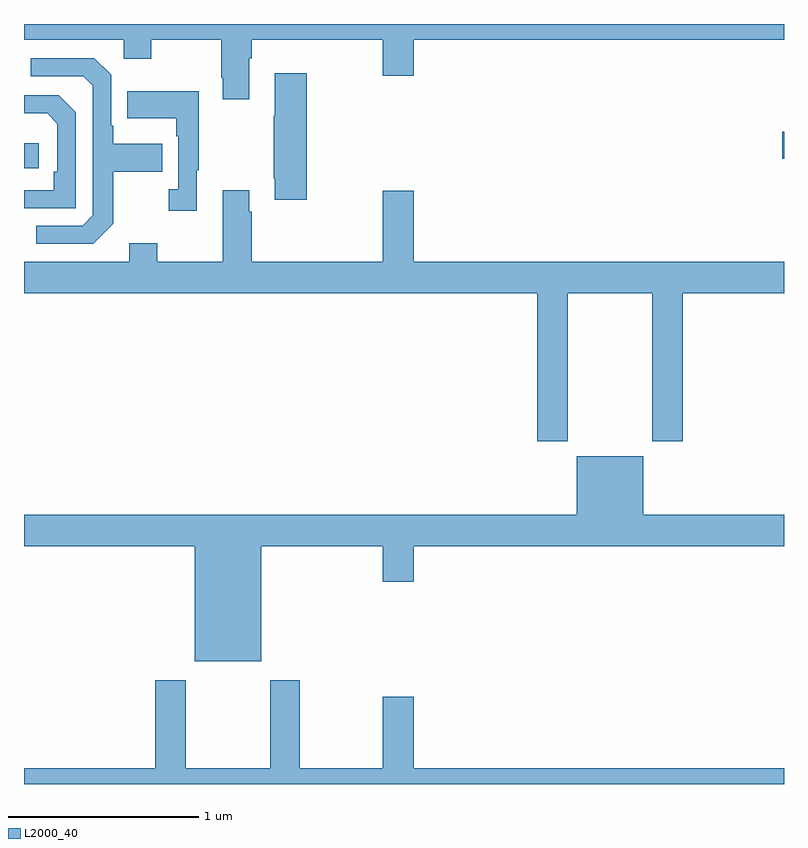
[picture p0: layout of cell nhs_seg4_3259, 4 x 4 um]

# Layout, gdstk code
import gdstk
lib = gdstk.Library(unit=1e-6, precision=1e-09)
def R(c, l, rs):  # rectangles x0, y0, x1, y1
    for r in rs: c.add(gdstk.rectangle(r[:2], r[2:], *l))
def P(c, l, *ps):  # polygons
    for p in ps: c.add(gdstk.Polygon(p, *l))
L2000_40 = (2000, 40)

nhs_seg4_3259 = lib.new_cell('nhs_seg4_3259')
R(nhs_seg4_3259, L2000_40, [(283,800.142,283.078,800.272), (286.992,800.192,287,800.334)])
P(nhs_seg4_3259, L2000_40, [(283,800.816),(283.524,800.816),(283.524,800.717),(283.671,800.717),(283.671,800.816),(284.038,800.816),(284.038,800.617),(284.045,800.617),(284.045,800.505),(284.185,800.505),(284.185,800.72),(284.198,800.72),(284.198,800.816),(284.888,800.816),(284.888,800.628),(285.052,800.628),(285.052,800.816),(287,800.816),(287,800.9),(283,800.9)],
  [(283.471,799.849),(283.471,800.122),(283.727,800.122),(283.727,800.269),(283.471,800.269),(283.471,800.365),(283.458,800.365),(283.458,800.634),(283.371,800.721),(283.035,800.721),(283.035,800.625),(283.311,800.625),(283.362,800.574),(283.362,799.893),(283.308,799.839),(283.065,799.839),(283.065,799.743),(283.365,799.743)],
  [(284.489,800.641),(284.321,800.641),(284.321,800.417),(284.314,800.417),(284.314,800.086),(284.321,800.086),(284.321,799.974),(284.489,799.974)],
  [(283.909,800.129),(283.921,800.129),(283.921,800.545),(283.543,800.545),(283.543,800.405),(283.8,800.405),(283.8,800.309),(283.812,800.309),(283.812,800.03),(283.761,800.03),(283.761,799.917),(283.909,799.917)],
  [(283.272,800.436),(283.182,800.526),(283,800.526),(283,800.429),(283.123,800.429),(283.176,800.376),(283.176,800.122),(283.156,800.122),(283.156,800.025),(283,800.025),(283,799.929),(283.272,799.929)],
  [(285.861,799.484),(286.306,799.484),(286.306,798.705),(286.466,798.705),(286.466,799.484),(287,799.484),(287,799.648),(285.052,799.648),(285.052,800.023),(284.888,800.023),(284.888,799.648),(284.198,799.648),(284.198,799.913),(284.185,799.913),(284.185,800.026),(284.045,800.026),(284.045,799.648),(283.701,799.648),(283.701,799.747),(283.553,799.747),(283.553,799.648),(283,799.648),(283,799.484),(285.701,799.484),(285.701,798.705),(285.861,798.705)],
  [(284.248,798.152),(284.888,798.152),(284.888,797.964),(285.052,797.964),(285.052,798.152),(287,798.152),(287,798.316),(286.258,798.316),(286.258,798.625),(285.908,798.625),(285.908,798.316),(283,798.316),(283,798.152),(283.898,798.152),(283.898,797.546),(284.248,797.546)],
  [(287,796.984),(285.052,796.984),(285.052,797.359),(284.888,797.359),(284.888,796.984),(284.451,796.984),(284.451,797.446),(284.296,797.446),(284.296,796.984),(283.851,796.984),(283.851,797.446),(283.691,797.446),(283.691,796.984),(283,796.984),(283,796.9),(287,796.9)])

lib.write_gds('nhs_seg4_3259.gds')
